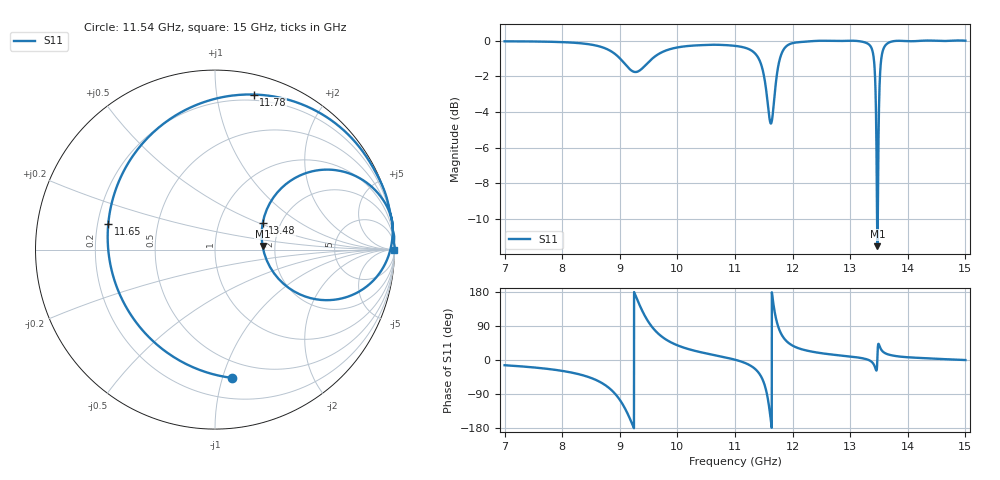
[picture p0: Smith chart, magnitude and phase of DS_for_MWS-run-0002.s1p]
! TOUCHSTONE file generated by CST DESIGN STUDIO
! Date and time: Mon Feb 10 16:42:48 2025
! Project name: C:\Work\MatlabApps\UnitCellType2OptimizationMatlab\CST\unitcell.cst
! Tree item: Tasks\Sweep1\SPara1\S-Parameters
! Header version: 2024
! Port assignment regex: !\s*Touchstone port\s*([0-9]+)\s*=\s*(CST MWS port|CST DES external port|CST DES block port)\s*(.+)\s* \(\"(.*)\"\)(\s*mode\s*([0-9]+))?.*
! Touchstone port assignment:
! Touchstone port 1 = CST DES external port 1 ("")
# GHz S MA R 50
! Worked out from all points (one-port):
!   4001 points, 7 GHz to 15 GHz, reference 50 ohm
!   lowest |S11| = -11.5 dB at 13.47 GHz (marker M1), VSWR 1.72, Z = 85.9 + j3.83 ohm
!   |S11| at or under -10 dB: 13.46642 GHz to 13.47892 GHz (12.5 MHz wide, 0.0928 % of centre)
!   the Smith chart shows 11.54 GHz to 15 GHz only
!   S11 on the Smith chart (normalised r, x): 11.54 GHz: 0.36, -1.07; 11.65 GHz: 0.24, +0.11; 11.78 GHz: 0.15, +1.27; 13.48 GHz: 1.62, +0.52; 15 GHz: open
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7  0.9957 -13.8
8  0.9905 -28.7
8.624  0.9657 -55.4
9  0.8925 -105.1
9.116  0.8505 -135.5
9.242  0.8182 -178.5
9.47  0.8616 107.2
9.708  0.924 64.3
10  0.9572 38.8
11  0.9669 0.8
11.378  0.9087 -27.8
11.47  0.8407 -48.5
11.544  0.7206 -82.6
11.592  0.6169 -123.4
11.65  0.6115 166.6
11.712  0.7684 109.3
11.78  0.8906 76.0
11.872  0.9577 53.3
12  0.9842 37.9
13  0.9996 9.3
13.364  0.9578 -3.8
13.428  0.8138 -17.8
13.472  0.2655 4.5
13.478  0.3032 28.9
13.524  0.8346 31.4
13.606  0.9677 18.0
14  0.9967 7.2
15  0.9997 -0.1
